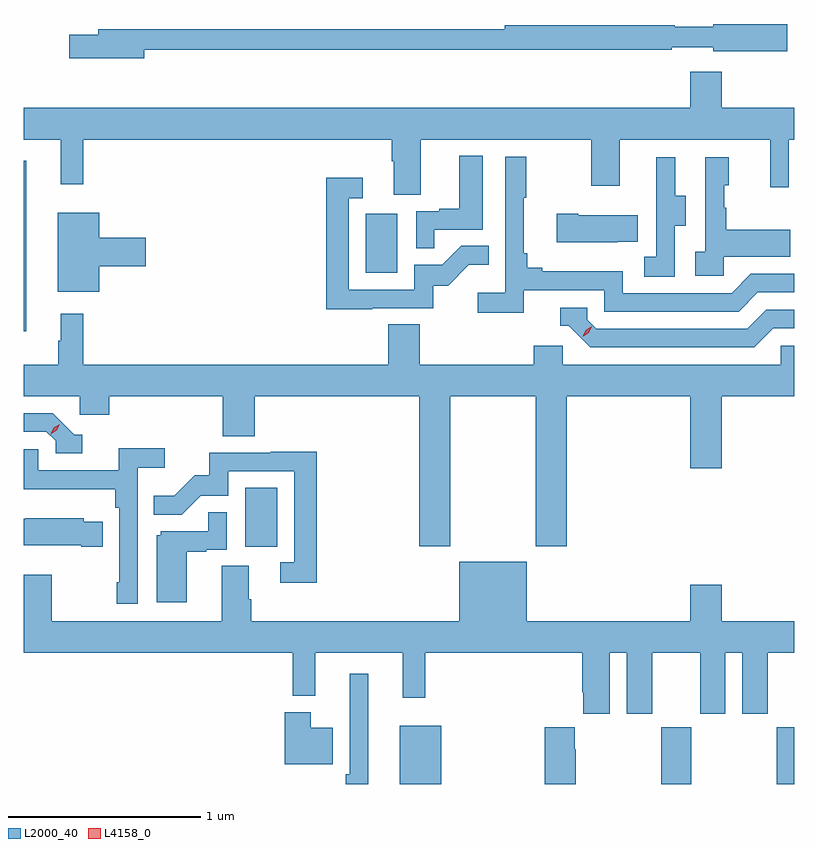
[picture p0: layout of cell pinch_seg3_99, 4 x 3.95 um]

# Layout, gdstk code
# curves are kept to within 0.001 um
import gdstk
lib = gdstk.Library(unit=1e-6, precision=1e-09)
def R(c, l, rs):  # rectangles x0, y0, x1, y1
    for r in rs: c.add(gdstk.rectangle(r[:2], r[2:], *l))
def P(c, l, *ps):  # polygons
    for p in ps: c.add(gdstk.Polygon(p, *l))
L2000_40 = (2000, 40)
L4158_0 = (4158, 0)

pinch_seg3_99 = lib.new_cell('pinch_seg3_99')
R(pinch_seg3_99, L2000_40, [(1038.623,725.542,1038.838,725.845), (1039.981,725.542,1040.136,725.836), (1040.581,725.542,1040.671,725.836), (1037.822,726.774,1037.986,727.081), (1036.671,727.892,1036.684,728.779), (1038.446,728.196,1038.61,728.503)])
P(pinch_seg3_99, L2000_40, [(1037.296,729.354),(1040.036,729.354),(1040.036,729.366),(1040.25,729.366),(1040.25,729.346),(1040.635,729.346),(1040.635,729.488),(1040.25,729.488),(1040.25,729.475),(1040.05,729.475),(1040.05,729.482),(1039.168,729.482),(1039.168,729.462),(1037.057,729.462),(1037.057,729.433),(1036.908,729.433),(1036.908,729.311),(1037.296,729.311)],
  [(1038.733,728.888),(1039.618,728.888),(1039.618,728.649),(1039.765,728.649),(1039.765,728.888),(1040.546,728.888),(1040.546,728.64),(1040.643,728.64),(1040.643,728.888),(1040.671,728.888),(1040.671,729.052),(1040.296,729.052),(1040.296,729.241),(1040.132,729.241),(1040.132,729.052),(1036.671,729.052),(1036.671,728.888),(1036.862,728.888),(1036.862,728.655),(1036.979,728.655),(1036.979,728.888),(1038.581,728.888),(1038.581,728.776),(1038.593,728.776),(1038.593,728.602),(1038.733,728.602)],
  [(1038.803,728.421),(1039.054,728.421),(1039.054,728.803),(1038.932,728.803),(1038.932,728.53),(1038.829,728.53),(1038.829,728.517),(1038.708,728.517),(1038.708,728.323),(1038.803,728.323)],
  [(1039.268,728.106),(1039.686,728.106),(1039.686,727.995),(1040.383,727.995),(1040.482,728.094),(1040.671,728.094),(1040.671,728.19),(1040.445,728.19),(1040.346,728.091),(1039.782,728.091),(1039.782,728.203),(1039.363,728.203),(1039.363,728.222),(1039.286,728.222),(1039.286,728.299),(1039.267,728.299),(1039.267,728.587),(1039.279,728.587),(1039.279,728.8),(1039.17,728.8),(1039.17,728.092),(1039.029,728.092),(1039.029,727.99),(1039.268,727.99)],
  [(1040.304,728.279),(1040.651,728.279),(1040.651,728.419),(1040.317,728.419),(1040.317,728.534),(1040.307,728.534),(1040.307,728.652),(1040.332,728.652),(1040.332,728.797),(1040.208,728.797),(1040.208,728.306),(1040.157,728.306),(1040.157,728.181),(1040.304,728.181)],
  [(1040.052,728.44),(1040.107,728.44),(1040.107,728.595),(1040.053,728.595),(1040.053,728.797),(1039.955,728.797),(1039.955,728.583),(1039.956,728.583),(1039.956,728.279),(1039.893,728.279),(1039.893,728.176),(1040.052,728.176)],
  [(1038.479,728.013),(1038.798,728.013),(1038.798,728.13),(1038.874,728.13),(1038.981,728.237),(1039.085,728.237),(1039.085,728.336),(1038.942,728.336),(1038.844,728.238),(1038.699,728.238),(1038.699,728.109),(1038.357,728.109),(1038.357,728.583),(1038.43,728.583),(1038.43,728.689),(1038.241,728.689),(1038.241,728.008),(1038.479,728.008)],
  [(1037.062,728.231),(1037.305,728.231),(1037.305,728.378),(1037.062,728.378),(1037.062,728.509),(1036.847,728.509),(1036.847,728.099),(1037.062,728.099)],
  [(1039.751,728.357),(1039.859,728.357),(1039.859,728.494),(1039.549,728.494),(1039.549,728.502),(1039.437,728.502),(1039.437,728.354),(1039.751,728.354)],
  [(1040.563,727.908),(1040.67,727.908),(1040.671,728.004),(1040.526,728.004),(1040.427,727.905),(1039.644,727.905),(1039.596,727.953),(1039.596,728.016),(1039.457,728.016),(1039.457,727.92),(1039.5,727.92),(1039.611,727.809),(1040.464,727.809)],
  [(1038.885,727.556),(1039.33,727.556),(1039.33,726.777),(1039.49,726.777),(1039.49,727.556),(1040.132,727.556),(1040.132,727.182),(1040.296,727.182),(1040.296,727.556),(1040.671,727.556),(1040.671,727.818),(1040.601,727.818),(1040.601,727.72),(1039.47,727.72),(1039.47,727.818),(1039.319,727.818),(1039.319,727.72),(1038.728,727.72),(1038.728,727.928),(1038.563,727.928),(1038.563,727.72),(1036.979,727.72),(1036.979,727.984),(1036.862,727.984),(1036.862,727.844),(1036.851,727.844),(1036.851,727.72),(1036.671,727.72),(1036.671,727.556),(1036.962,727.556),(1036.962,727.458),(1037.114,727.458),(1037.114,727.556),(1037.705,727.556),(1037.705,727.348),(1037.87,727.348),(1037.87,727.556),(1038.725,727.556),(1038.725,726.777),(1038.885,726.777)],
  [(1036.975,727.356),(1036.932,727.356),(1036.821,727.467),(1036.671,727.467),(1036.671,727.371),(1036.788,727.371),(1036.836,727.323),(1036.836,727.26),(1036.975,727.26)],
  [(1037.262,727.184),(1037.404,727.184),(1037.404,727.286),(1037.165,727.286),(1037.165,727.17),(1036.746,727.17),(1036.746,727.281),(1036.671,727.281),(1036.671,727.073),(1037.146,727.073),(1037.146,726.977),(1037.166,726.977),(1037.166,726.589),(1037.154,726.589),(1037.154,726.477),(1037.262,726.477)],
  [(1038.191,727.268),(1037.953,727.268),(1037.953,727.263),(1037.635,727.263),(1037.635,727.146),(1037.558,727.146),(1037.451,727.039),(1037.347,727.039),(1037.347,726.94),(1037.491,726.94),(1037.589,727.038),(1037.733,727.038),(1037.733,727.167),(1038.075,727.167),(1038.075,726.693),(1038.003,726.693),(1038.003,726.588),(1038.191,726.588)],
  [(1037.518,726.747),(1037.618,726.747),(1037.618,726.759),(1037.724,726.759),(1037.724,726.953),(1037.629,726.953),(1037.629,726.855),(1037.382,726.855),(1037.382,726.834),(1037.36,726.834),(1037.36,726.486),(1037.518,726.486)],
  [(1037.081,726.904),(1036.983,726.904),(1036.983,726.922),(1036.681,726.922),(1036.681,726.919),(1036.671,726.919),(1036.671,726.782),(1036.97,726.782),(1036.97,726.775),(1037.081,726.775)],
  [(1039.714,726.224),(1039.802,726.224),(1039.802,725.907),(1039.933,725.907),(1039.933,726.224),(1040.183,726.224),(1040.183,725.907),(1040.314,725.907),(1040.314,726.224),(1040.402,726.224),(1040.402,725.907),(1040.533,725.907),(1040.533,726.224),(1040.671,726.224),(1040.671,726.388),(1040.296,726.388),(1040.296,726.577),(1040.132,726.577),(1040.132,726.388),(1039.282,726.388),(1039.282,726.697),(1038.932,726.697),(1038.932,726.388),(1037.852,726.388),(1037.852,726.5),(1037.839,726.5),(1037.839,726.674),(1037.699,726.674),(1037.699,726.388),(1036.815,726.388),(1036.815,726.628),(1036.671,726.628),(1036.671,726.224),(1038.067,726.224),(1038.067,725.999),(1038.185,725.999),(1038.185,726.224),(1038.638,726.224),(1038.638,725.991),(1038.755,725.991),(1038.755,726.224),(1039.571,726.224),(1039.571,726.019),(1039.577,726.019),(1039.577,725.907),(1039.714,725.907)],
  [(1038.46,726.115),(1038.363,726.115),(1038.363,725.593),(1038.343,725.593),(1038.343,725.542),(1038.46,725.542)],
  [(1038.274,725.833),(1038.16,725.833),(1038.16,725.914),(1038.026,725.914),(1038.026,725.645),(1038.274,725.645)],
  [(1039.536,725.723),(1039.531,725.723),(1039.531,725.836),(1039.376,725.836),(1039.376,725.542),(1039.536,725.542)])
P(pinch_seg3_99, L4158_0, [(1036.81,727.359),(1036.81,727.359),(1036.826,727.391),(1036.857,727.411),(1036.857,727.411),(1036.857,727.41),(1036.841,727.378),(1036.811,727.359)],
  [(1039.574,727.866),(1039.574,727.866),(1039.59,727.898),(1039.621,727.918),(1039.621,727.918),(1039.621,727.917),(1039.605,727.885),(1039.575,727.866)])

lib.write_gds('pinch_seg3_99.gds')
